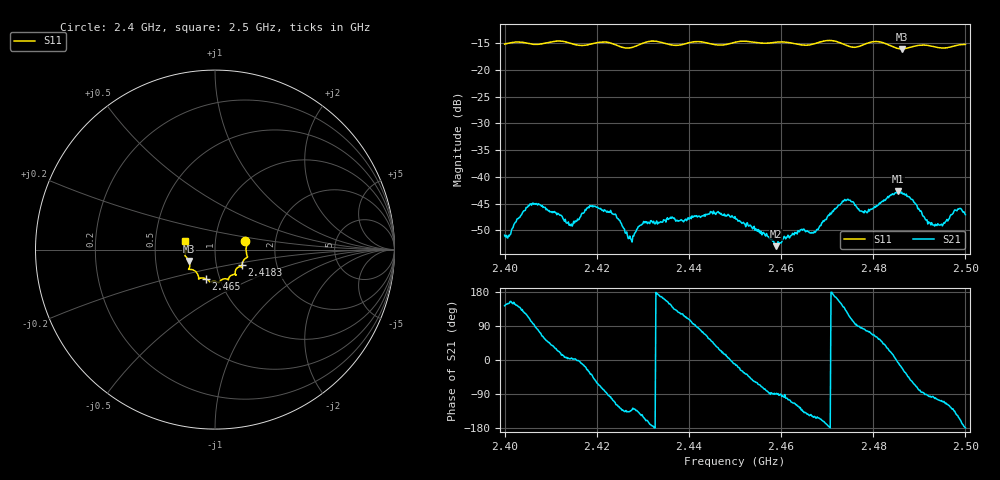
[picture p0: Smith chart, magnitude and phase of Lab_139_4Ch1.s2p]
# Hz S RI R 50
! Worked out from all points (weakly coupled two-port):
!   601 points, 2.4 GHz to 2.5 GHz, reference 50 ohm
!   highest |S21| = -42.72 dB at 2.4853 GHz (marker M1); lowest = -53.0 dB at 2.4588 GHz (marker M2)
!   lowest |S11| = -16.1 dB at 2.4862 GHz (marker M3), VSWR 1.37, Z = 37.2 - j4.85 ohm
!   |S11| at or under -10 dB: start of sweep to end of sweep
!   S12 and S22 are empty: the file has one direction only
!   S11 on the Smith chart (normalised r, x): 2.4 GHz: 1.40, +0.13; 2.4183 GHz: 1.33, -0.24; 2.465 GHz: 0.86, -0.29; 2.5 GHz: 0.71, +0.07
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2.4e9  0.1679 0.0468  -0.00227 0.00171  0 0  0 0
2.406e9  0.1738 0.00883  -0.000826 0.00557  0 0  0 0
2.414167e9  0.1715 -0.0476  0.00358 0.000179  0 0  0 0
2.416667e9  0.1548 -0.0679  0.00441 -0.000673  0 0  0 0
2.418333e9  0.1499 -0.0863  0.0044 -0.00263  0 0  0 0
2.4235e9  0.1467 -0.0965  -0.00128 -0.00431  0 0  0 0
2.427167e9  0.1174 -0.1094  -0.00201 -0.00194  0 0  0 0
2.43e9  0.1135 -0.1366  -0.00312 -0.00188  0 0  0 0
2.433333e9  0.1173 -0.1415  -0.00371 0.000483  0 0  0 0
2.445167e9  0.061 -0.1625  0.00303 0.00332  0 0  0 0
2.45e9  0.0257 -0.1796  0.00417 -0.00078  0 0  0 0
2.458833e9  -0.022 -0.1797  3.61e-05 -0.00224  0 0  0 0
2.465e9  -0.0524 -0.162  -0.00244 -0.00212  0 0  0 0
2.466667e9  -0.0709 -0.1575  -0.00256 -0.00159  0 0  0 0
2.473833e9  -0.094 -0.1438  -0.00438 0.0043  0 0  0 0
2.478333e9  -0.136 -0.1104  0.000967 0.00466  0 0  0 0
2.483333e9  -0.1414 -0.0969  0.00565 0.00296  0 0  0 0
2.485333e9  -0.1404 -0.0737  0.00726 -0.00081  0 0  0 0
2.486167e9  -0.1436 -0.0636  0.00675 -0.00248  0 0  0 0
2.492833e9  -0.1646 -0.0215  -0.000383 -0.00353  0 0  0 0
2.498167e9  -0.1656 0.0368  -0.00396 -0.00272  0 0  0 0
2.5e9  -0.1664 0.0475  -0.00442 -7.39e-05  0 0  0 0
